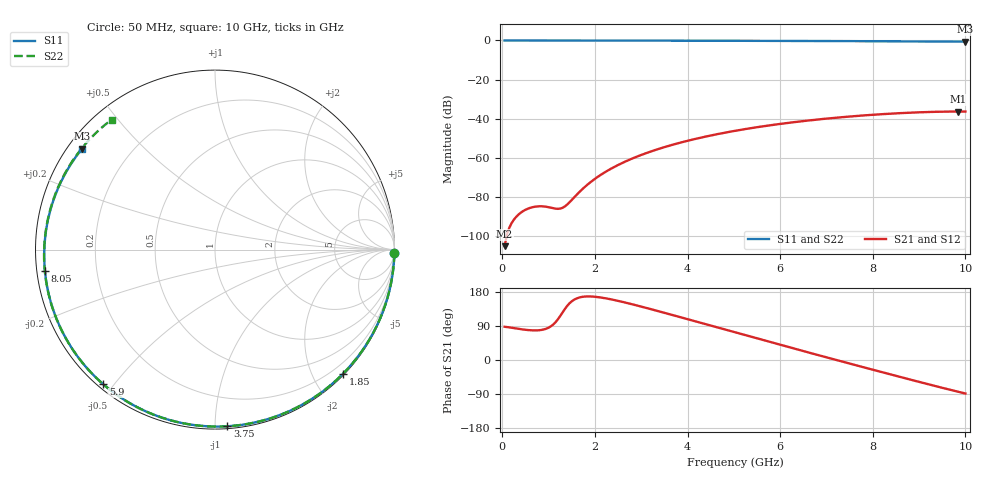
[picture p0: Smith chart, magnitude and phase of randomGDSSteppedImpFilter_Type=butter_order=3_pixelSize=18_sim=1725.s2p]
! freq	dB(S11)	phase(S11)	dB(S12)	phase(S12)
!  dB(S21)	phase(S21)	dB(S22)	phase(S22)
!S-par simulation data
#  GHz  S  DB  R 50
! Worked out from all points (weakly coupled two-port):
!   200 points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, 50 MHz to 10 GHz, reference 50 ohm
!   highest |S21| = -36.39 dB at 9.85 GHz (marker M1); lowest = -105.3 dB at 50 MHz (marker M2)
!   lowest |S11| = -0.6 dB at 10 GHz (marker M3), VSWR 27.49, Z = 2.02 + j16.8 ohm
!   |S11| at or under -10 dB: nowhere
!   |S22| runs from -0.7 to 0.0 dB; largest |S21 - S12| = 0
!   S11 on the Smith chart (normalised r, x): 50 MHz: 2, -93; 1.85 GHz: 0.02, -2.47; 3.75 GHz: 0.01, -1.07; 5.9 GHz: 0.02, -0.47; 8.05 GHz: 0.02, -0.06; 10 GHz: 0.04, +0.34
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0.05  -0.00 -1.2  -105.31 87.8  -105.31 87.8  -0.00 -1.2
0.75  -0.02 -18.2  -84.97 78.2  -84.97 78.2  -0.02 -18.2
1.55  -0.05 -37.1  -80.38 159.1  -80.38 159.1  -0.05 -37.2
1.75  -0.05 -41.8  -75.66 167.0  -75.66 167.0  -0.05 -41.9
1.85  -0.06 -44.1  -73.60 167.8  -73.60 167.8  -0.06 -44.2
2.15  -0.06 -50.9  -68.43 164.5  -68.43 164.5  -0.07 -51.2
2.5  -0.08 -58.9  -63.76 156.1  -63.76 156.1  -0.08 -59.1
2.9  -0.09 -67.7  -59.54 144.1  -59.54 144.1  -0.09 -68.1
3.4  -0.10 -78.6  -55.35 127.9  -55.35 127.9  -0.10 -79.2
3.75  -0.12 -86.0  -52.91 116.2  -52.91 116.2  -0.12 -86.8
4.4  -0.14 -99.6  -49.17 94.1  -49.17 94.1  -0.14 -100.6
5.05  -0.17 -112.7  -46.16 72.1  -46.16 72.1  -0.18 -114.3
5.9  -0.22 -129.6  -43.05 43.5  -43.05 43.5  -0.23 -132.0
6.7  -0.28 -145.4  -40.75 16.9  -40.75 16.9  -0.29 -149.0
7.4  -0.34 -159.4  -39.15 -6.1  -39.15 -6.1  -0.35 -164.3
8.05  -0.40 -172.8  -37.97 -27.3  -37.97 -27.3  -0.42 -179.2
8.35  -0.43 -179.1  -37.53 -37.0  -37.53 -37.0  -0.46 173.6
8.75  -0.48 172.2  -37.03 -49.8  -37.03 -49.8  -0.51 163.6
9.1  -0.52 164.4  -36.71 -60.9  -36.71 -60.9  -0.55 154.4
9.5  -0.57 155.1  -36.46 -73.4  -36.46 -73.4  -0.61 143.3
9.85  -0.61 146.6  -36.39 -84.0  -36.39 -84.0  -0.65 133.0
10  -0.63 142.8  -36.41 -88.4  -36.41 -88.4  -0.67 128.5
